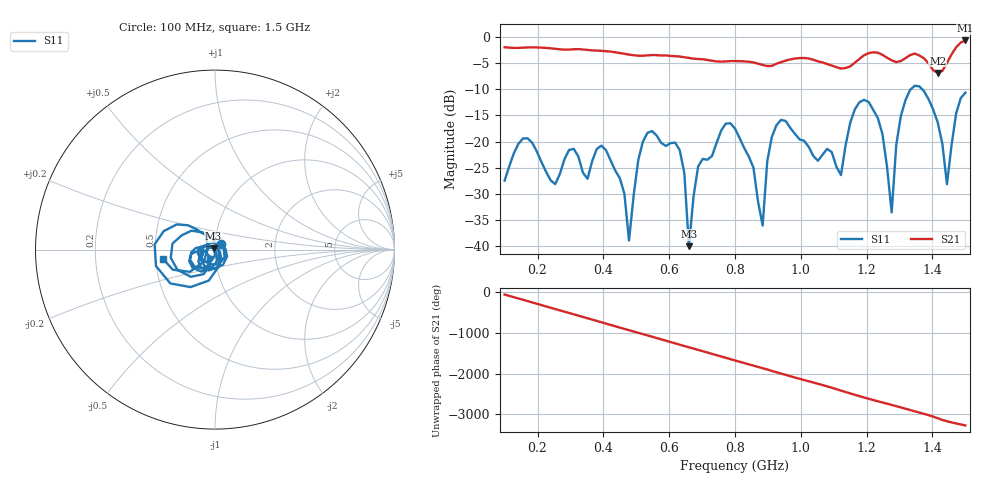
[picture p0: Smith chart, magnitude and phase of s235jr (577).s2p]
! NanoVNA-App
! Date: 2025-09-25 15:08:39
! Start: 100MHz Stop: 1,5GHz Points: 101
! S-Parameter data: F S11 S21 S12 S22
# Hz S RI R 50
!  Frequency  S11_Real  S11_Imag  S21_Real  S21_Imag  S12_Real  S12_Imag  S22_Real  S22_Imag
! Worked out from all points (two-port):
!   101 points, 100 MHz to 1.5 GHz, reference 50 ohm
!   highest |S21| = -0.66 dB at 1.5 GHz (marker M1); lowest = -6.9 dB at 1.416 GHz (marker M2)
!   |S21| within 3 dB of the highest: start of sweep to 616.1 MHz; 1.189 GHz to 1.254 GHz (65.72 MHz wide, 5.38 % of centre) (the widest 2 of 4)
!   lowest |S11| = -40.0 dB at 660 MHz (marker M3), VSWR 1.02, Z = 49.2 + j0.627 ohm
!   |S11| at or under -10 dB: start of sweep to 1.334 GHz; 1.369 GHz to end of sweep
!   S12 and S22 are empty: the file has one direction only
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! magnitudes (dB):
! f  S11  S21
! 100 MHz  -27.5  -2.0
! 156 MHz  -19.4  -2.0
! 338 MHz  -26.0  -2.4
! 408 MHz  -21.6  -2.7
! 478 MHz  -38.9  -3.4
! 520 MHz  -20.0  -3.6
! 576 MHz  -20.3  -3.5
! 632 MHz  -21.6  -3.7
! 660 MHz  -40.0  -4.0
! 688 MHz  -24.8  -4.2
! 800 MHz  -17.5  -4.6
! 884 MHz  -36.1  -5.4
! 926 MHz  -16.9  -5.1
! 1.038 GHz  -22.8  -4.4
! 1.122 GHz  -26.4  -6.0
! 1.206 GHz  -12.4  -3.1
! 1.276 GHz  -33.5  -4.5
! 1.29 GHz  -20.6  -4.8
! 1.332 GHz  -10.1  -3.5
! 1.416 GHz  -16.4  -6.9
! 1.444 GHz  -28.1  -5.0
! 1.5 GHz  -10.6  -0.7
